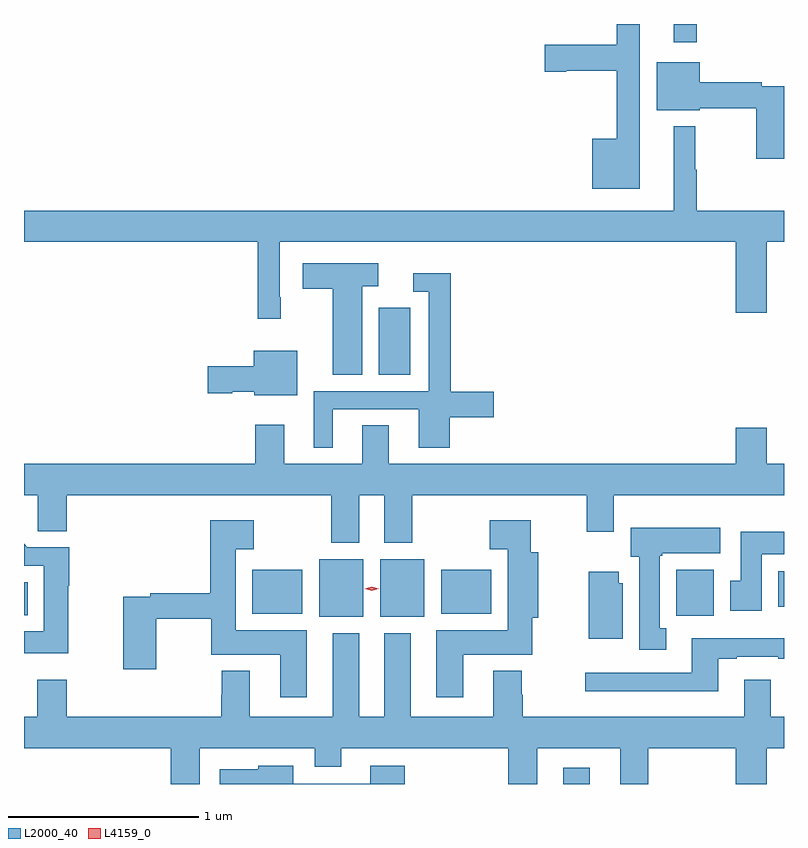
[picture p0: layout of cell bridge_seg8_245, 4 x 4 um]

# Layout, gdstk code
import gdstk
lib = gdstk.Library(unit=1e-6, precision=1e-09)
def R(c, l, rs):  # rectangles x0, y0, x1, y1
    for r in rs: c.add(gdstk.rectangle(r[:2], r[2:], *l))
def P(c, l, *ps):  # polygons
    for p in ps: c.add(gdstk.Polygon(p, *l))
L2000_40 = (2000, 40)
L4159_0 = (4159, 0)

bridge_seg8_245 = lib.new_cell('bridge_seg8_245')
R(bridge_seg8_245, L2000_40, [(271.991,1142.951,272.131,1143.037), (270.707,1143.83,270.94,1144.135), (271.028,1143.83,271.261,1144.135), (272.588,1143.836,272.785,1144.078), (269.154,1143.84,269.173,1144.012), (270.356,1143.848,270.619,1144.078), (271.349,1143.848,271.612,1144.078), (273.125,1143.884,273.154,1144.072), (271.022,1145.104,271.186,1145.458), (272.573,1146.855,272.695,1146.951)])
P(bridge_seg8_245, L2000_40, [(272.395,1146.951),(272.274,1146.951),(272.274,1146.843),(271.896,1146.843),(271.896,1146.701),(272.008,1146.701),(272.008,1146.706),(272.274,1146.706),(272.274,1146.346),(272.144,1146.346),(272.144,1146.083),(272.395,1146.083)],
  [(273.154,1146.624),(273.038,1146.624),(273.038,1146.644),(272.71,1146.644),(272.71,1146.751),(272.483,1146.751),(272.483,1146.497),(272.71,1146.497),(272.71,1146.508),(273.007,1146.508),(273.007,1146.243),(273.154,1146.243)],
  [(270.506,1145.512),(270.501,1145.512),(270.501,1145.804),(272.9,1145.804),(272.9,1145.43),(273.064,1145.43),(273.064,1145.804),(273.154,1145.804),(273.154,1145.968),(272.695,1145.968),(272.695,1146.185),(272.687,1146.185),(272.687,1146.412),(272.573,1146.412),(272.573,1145.968),(269.154,1145.968),(269.154,1145.804),(270.385,1145.804),(270.385,1145.4),(270.506,1145.4)],
  [(270.934,1145.57),(271.018,1145.57),(271.018,1145.692),(270.621,1145.692),(270.621,1145.558),(270.779,1145.558),(270.779,1145.104),(270.934,1145.104)],
  [(270.778,1144.923),(271.232,1144.923),(271.232,1144.722),(271.394,1144.722),(271.394,1144.88),(271.627,1144.88),(271.627,1145.015),(271.4,1145.015),(271.4,1145.638),(271.203,1145.638),(271.203,1145.541),(271.284,1145.541),(271.284,1145.019),(270.68,1145.019),(270.68,1144.722),(270.778,1144.722)],
  [(270.592,1145.23),(270.362,1145.23),(270.362,1145.15),(270.12,1145.15),(270.12,1145.008),(270.249,1145.008),(270.249,1145.015),(270.366,1145.015),(270.366,1144.997),(270.592,1144.997)],
  [(269.154,1144.472),(269.226,1144.472),(269.226,1144.282),(269.378,1144.282),(269.378,1144.472),(270.772,1144.472),(270.772,1144.22),(270.919,1144.22),(270.919,1144.472),(271.049,1144.472),(271.049,1144.22),(271.197,1144.22),(271.197,1144.472),(272.117,1144.472),(272.117,1144.278),(272.257,1144.278),(272.257,1144.472),(273.154,1144.472),(273.154,1144.636),(273.064,1144.636),(273.064,1144.825),(272.9,1144.825),(272.9,1144.636),(271.075,1144.636),(271.075,1144.838),(270.935,1144.838),(270.935,1144.636),(270.523,1144.636),(270.523,1144.843),(270.371,1144.843),(270.371,1144.636),(269.154,1144.636)],
  [(271.465,1143.632),(271.83,1143.632),(271.83,1143.827),(271.861,1143.827),(271.861,1144.171),(271.822,1144.171),(271.822,1144.339),(271.605,1144.339),(271.605,1144.187),(271.7,1144.187),(271.7,1143.76),(271.325,1143.76),(271.325,1143.408),(271.465,1143.408)],
  [(270.643,1143.76),(270.268,1143.76),(270.268,1144.187),(270.364,1144.187),(270.364,1144.339),(270.134,1144.339),(270.134,1143.956),(269.818,1143.956),(269.818,1143.936),(269.677,1143.936),(269.677,1143.555),(269.85,1143.555),(269.85,1143.82),(270.139,1143.82),(270.139,1143.632),(270.503,1143.632),(270.503,1143.408),(270.643,1143.408)],
  [(272.533,1143.77),(272.5,1143.77),(272.5,1144.153),(272.514,1144.153),(272.514,1144.166),(272.818,1144.166),(272.818,1144.3),(272.348,1144.3),(272.348,1144.146),(272.393,1144.146),(272.393,1143.657),(272.533,1143.657)],
  [(273.037,1144.16),(273.154,1144.16),(273.154,1144.279),(272.927,1144.279),(272.927,1144.02),(272.87,1144.02),(272.87,1143.864),(273.037,1143.864)],
  [(269.388,1143.994),(269.393,1143.994),(269.393,1144.197),(269.172,1144.197),(269.154,1144.215),(269.154,1144.101),(269.258,1144.101),(269.258,1143.754),(269.154,1143.754),(269.154,1143.638),(269.388,1143.638)],
  [(272.305,1144.008),(272.284,1144.008),(272.284,1144.069),(272.126,1144.069),(272.126,1143.716),(272.305,1143.716)],
  [(270.079,1143.14),(270.683,1143.14),(270.683,1143.041),(270.823,1143.041),(270.823,1143.14),(271.703,1143.14),(271.703,1142.951),(271.855,1142.951),(271.855,1143.14),(272.291,1143.14),(272.291,1142.951),(272.439,1142.951),(272.439,1143.14),(272.9,1143.14),(272.9,1142.951),(273.064,1142.951),(273.064,1143.14),(273.154,1143.14),(273.154,1143.304),(273.085,1143.304),(273.085,1143.499),(272.945,1143.499),(272.945,1143.304),(271.778,1143.304),(271.778,1143.42),(271.773,1143.42),(271.773,1143.547),(271.625,1143.547),(271.625,1143.304),(271.189,1143.304),(271.189,1143.745),(271.049,1143.745),(271.049,1143.304),(270.919,1143.304),(270.919,1143.745),(270.779,1143.745),(270.779,1143.304),(270.343,1143.304),(270.343,1143.547),(270.196,1143.547),(270.196,1143.42),(270.191,1143.42),(270.191,1143.304),(269.378,1143.304),(269.378,1143.499),(269.225,1143.499),(269.225,1143.304),(269.154,1143.304),(269.154,1143.14),(269.927,1143.14),(269.927,1142.951),(270.079,1142.951)],
  [(272.809,1143.609),(272.905,1143.609),(272.905,1143.621),(273.125,1143.621),(273.125,1143.609),(273.154,1143.609),(273.154,1143.718),(272.669,1143.718),(272.669,1143.537),(272.109,1143.537),(272.109,1143.44),(272.809,1143.44)],
  [(271.159,1143.046),(270.977,1143.046),(270.977,1142.952),(270.571,1142.952),(270.571,1143.046),(270.387,1143.046),(270.387,1143.028),(270.183,1143.028),(270.183,1142.951),(271.159,1142.951)])
P(bridge_seg8_245, L4159_0, [(270.984,1143.968),(270.947,1143.978),(270.946,1143.978),(270.947,1143.978),(270.984,1143.988),(271.021,1143.978),(271.022,1143.978),(271.021,1143.978)])

lib.write_gds('bridge_seg8_245.gds')
